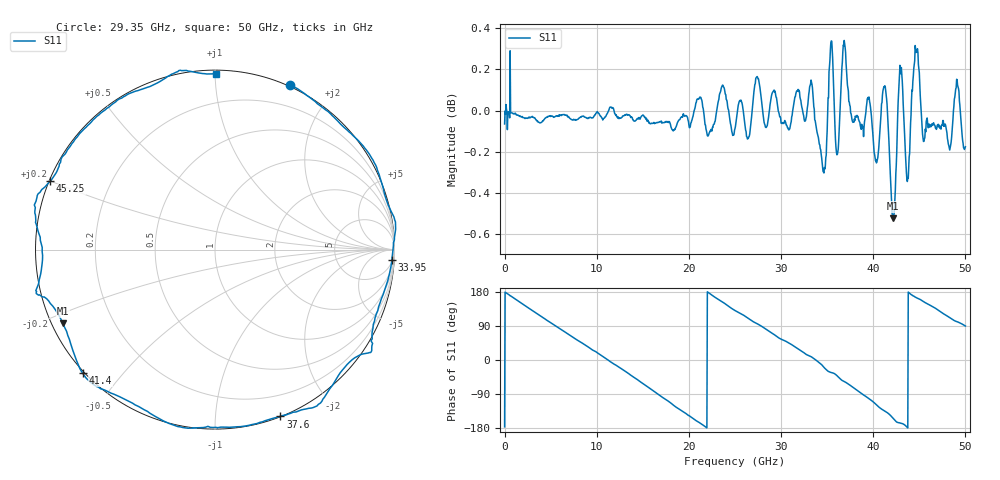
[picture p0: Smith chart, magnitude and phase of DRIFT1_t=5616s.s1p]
!Created with skrf (http://scikit-rf.org).
# Hz S RI R 50.0
!freq ReS11 ImS11
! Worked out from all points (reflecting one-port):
!   1001 points, 300 kHz to 50 GHz, reference 50 ohm
!   lowest |S11| = -0.5 dB at 42.15 GHz (marker M1), VSWR 33.15, Z = 1.59 - j11.5 ohm
!   phase of S11 starts at -176 deg and turns -814 deg over the sweep
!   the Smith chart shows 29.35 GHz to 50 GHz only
!   S11 on the Smith chart (normalised r, x): 29.35 GHz: -0.02, +1.56; 33.95 GHz: 7, -32; 37.6 GHz: 0.00, -1.47; 41.4 GHz: -0.01, -0.40; 45.25 GHz: 0.00, +0.20; 50 GHz: 0.02, +1.01
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300000  -0.9906 -0.062
1.60029e9  -0.8929 0.4437
3.35028e9  -0.5702 0.8158
6.250262e9  0.1998 0.9773
9.500243e9  0.8889 0.4494
1.115023e10  0.9982 0.0221
1.250022e10  0.9337 -0.3466
1.580021e10  0.245 -0.962
1.73502e10  -0.2063 -0.9717
1.875019e10  -0.5925 -0.7971
2.155017e10  -0.9915 -0.1386
2.345016e10  -0.9258 0.4064
2.500015e10  -0.6433 0.7525
2.730014e10  -0.1232 1.011
2.935012e10  0.4206 0.9192
3.125011e10  0.779 0.6263
3.39501e10  0.9851 -0.0593
3.525009e10  0.8744 -0.5345
3.750008e10  0.3914 -0.9228
3.760007e10  0.3643 -0.9293
3.950006e10  -0.1919 -0.9878
4.140005e10  -0.7362 -0.6895
4.215005e10  -0.8468 -0.4113
4.290004e10  -0.9961 -0.2444
4.375004e10  -0.9629 -0.0117
4.525003e10  -0.9186 0.3817
4.770001e10  -0.5103 0.851
5e10  0.00512 0.9799
